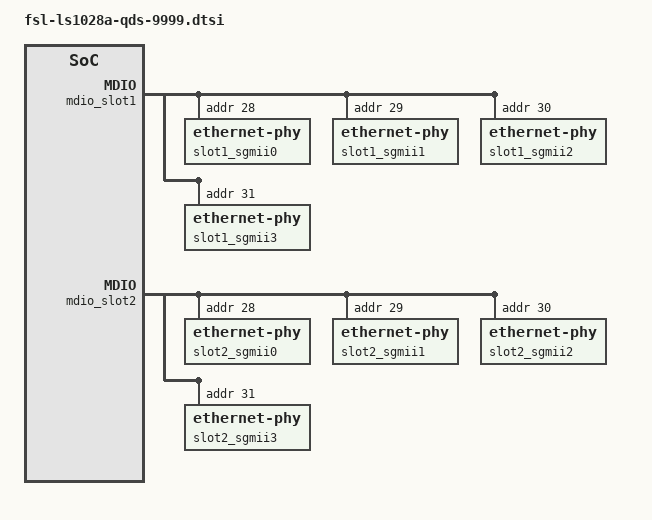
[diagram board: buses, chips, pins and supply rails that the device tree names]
// SPDX-License-Identifier: (GPL-2.0+ OR MIT)
/*
 * Device Tree Include file for LS1028A QDS board, serdes 9999
 *
 * Copyright 2019 NXP
 *
 */

&mdio_slot1 {
	/* VSC8234 */
	slot1_sgmii0: ethernet-phy@1c {
		reg = <0x1c>;
	};
	slot1_sgmii1: ethernet-phy@1d {
		reg = <0x1d>;
	};
	slot1_sgmii2: ethernet-phy@1e {
		reg = <0x1e>;
	};
	slot1_sgmii3: ethernet-phy@1f {
		reg = <0x1f>;
	};
};

&mdio_slot2 {
	/* VSC8234 */
	slot2_sgmii0: ethernet-phy@1c {
		reg = <0x1c>;
	};
	slot2_sgmii1: ethernet-phy@1d {
		reg = <0x1d>;
	};
	slot2_sgmii2: ethernet-phy@1e {
		reg = <0x1e>;
	};
	slot2_sgmii3: ethernet-phy@1f {
		reg = <0x1f>;
	};
};

/* l2switch ports */
&switch_port0 {
	phy-handle = <&slot1_sgmii0>;
	phy-connection-type = "sgmii";
};

&switch_port1 {
	phy-handle = <&slot2_sgmii0>;
	phy-connection-type = "sgmii";
};

&switch_port2 {
	phy-handle = <&slot1_sgmii2>;
	phy-connection-type = "sgmii";
};

&switch_port3 {
	phy-handle = <&slot1_sgmii3>;
	phy-connection-type = "sgmii";
};
